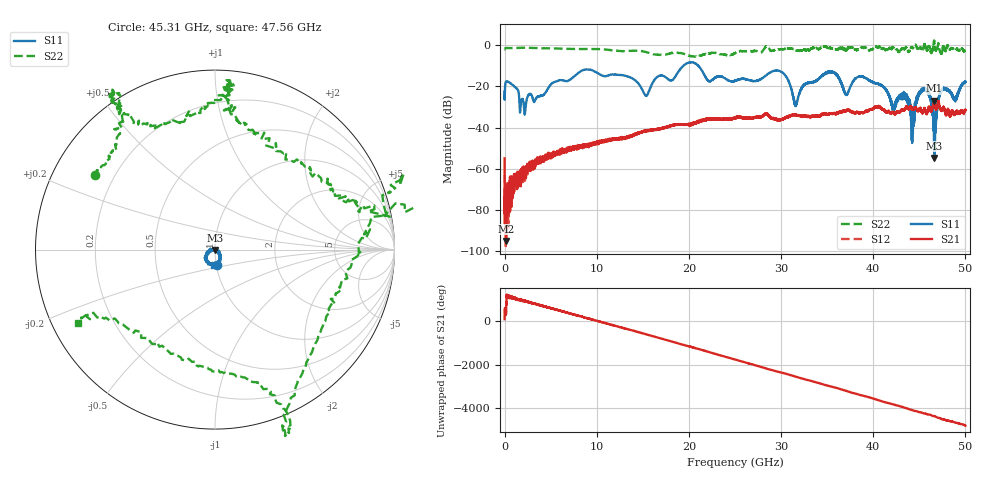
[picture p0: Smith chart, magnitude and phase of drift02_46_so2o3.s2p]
!Created with skrf (http://scikit-rf.org).
# Hz S RI R 50.0
!freq ReS11 ImS11 ReS21 ImS21 ReS12 ImS12 ReS22 ImS22
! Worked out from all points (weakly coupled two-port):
!   10001 points, 300 kHz to 50 GHz, reference 50 ohm
!   highest |S21| = -26.95 dB at 46.6 GHz (marker M1); lowest = -94.9 dB at 170.3 MHz (marker M2)
!   lowest |S11| = -54.7 dB at 46.65 GHz (marker M3), VSWR 1.00, Z = 49.9 - j0.151 ohm
!   |S11| at or under -10 dB: start of sweep to 19.42 GHz; 21.01 GHz to end of sweep
!   |S22| runs from -5.7 to 2.2 dB; largest |S21 - S12| = 0.0032
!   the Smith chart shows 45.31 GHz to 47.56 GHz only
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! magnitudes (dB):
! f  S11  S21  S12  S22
! 300 kHz  -22.6  -54.9  -62.7  -2.1
! 170.3 MHz  -17.7  -94.9  -79.7  -1.4
! 2.185 GHz  -33.5  -60.8  -63.8  -1.3
! 8.335 GHz  -12.5  -49.4  -49.1  -1.9
! 15.34 GHz  -24.5  -41.4  -41.7  -3.3
! 16.67 GHz  -15.1  -40.7  -40.7  -4.7
! 20.3 GHz  -8.4  -38.5  -38.4  -5.5
! 25 GHz  -17.4  -35.5  -35.3  -3.9
! 29.84 GHz  -12.6  -36.5  -36.2  -2.0
! 31.59 GHz  -29.0  -33.9  -34.1  -2.4
! 33.34 GHz  -18.0  -34.6  -34.6  -1.5
! 35.61 GHz  -13.2  -33.4  -33.0  -1.6
! 37.1 GHz  -24.1  -31.8  -31.8  -2.0
! 38.75 GHz  -15.3  -32.7  -32.6  -1.0
! 41.67 GHz  -24.1  -32.2  -32.1  -1.9
! 43.46 GHz  -24.1  -30.8  -31.1  -1.7
! 44.27 GHz  -35.8  -31.4  -31.1  -1.4
! 45.7 GHz  -21.3  -32.4  -32.5  -0.8
! 46.6 GHz  -39.4  -26.9  -26.8  1.9
! 46.65 GHz  -54.7  -27.6  -27.9  1.1
! 47.47 GHz  -21.8  -31.5  -31.5  -3.4
! 50 GHz  -17.8  -31.4  -31.2  -2.6
